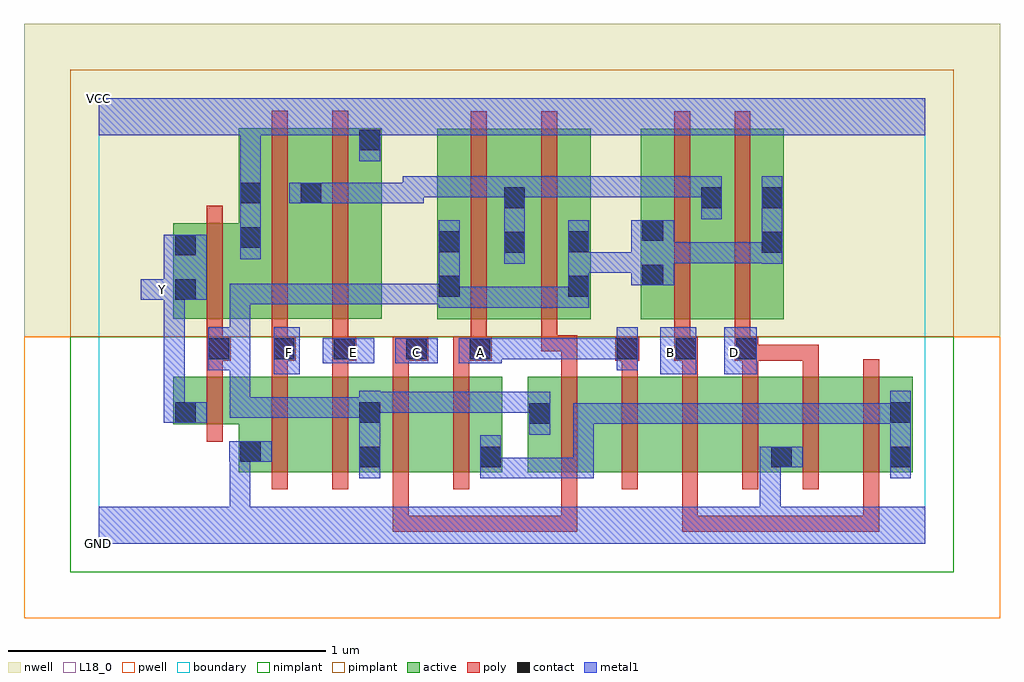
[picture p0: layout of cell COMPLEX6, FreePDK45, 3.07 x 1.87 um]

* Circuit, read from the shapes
.subckt COMPLEX6 A B C D E F GND VCC Y
M1 GND n1 Y VSUBS nfet w=0.15u l=0.05u
M2 n2 F GND VSUBS nfet w=0.3u l=0.05u
M3 n1 E n2 VSUBS nfet w=0.3u l=0.05u
M4 n3 C n1 VSUBS nfet w=0.3u l=0.05u
M5 n4 A n3 VSUBS nfet w=0.3u l=0.05u
M6 n5 C n1 VSUBS nfet w=0.3u l=0.05u
M7 n6 A n5 VSUBS nfet w=0.3u l=0.05u
M8 n7 B n6 VSUBS nfet w=0.3u l=0.05u
M9 GND D n7 VSUBS nfet w=0.3u l=0.05u
M10 n8 D GND VSUBS nfet w=0.3u l=0.05u
M11 n4 B n8 VSUBS nfet w=0.3u l=0.05u
M12 VCC n1 Y n9 pfet w=0.3u l=0.05u
M13 n10 F VCC n9 pfet w=0.6u l=0.05u
M14 VCC E n10 n9 pfet w=0.6u l=0.05u
M15 n10 A n1 n9 pfet w=0.6u l=0.05u
M16 n1 C n10 n9 pfet w=0.6u l=0.05u
M17 n10 B n1 n9 pfet w=0.6u l=0.05u
M18 n1 D n10 n9 pfet w=0.6u l=0.05u
.ends

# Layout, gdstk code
import gdstk
lib = gdstk.Library(unit=1e-6, precision=1e-09)
def R(c, l, rs):  # rectangles x0, y0, x1, y1
    for r in rs: c.add(gdstk.rectangle(r[:2], r[2:], *l))
def A(c, l, x, y, w, h, nx, ny, dx, dy):  # array of equal rectangles
    R(c, l, [(x+i*dx, y+j*dy, x+i*dx+w, y+j*dy+h) for i in range(nx) for j in range(ny)])
active = (1, 0)
pwell = (2, 0)
nwell = (3, 0)
nimplant = (4, 0)
pimplant = (5, 0)
poly = (9, 0)
contact = (10, 0)
metal1 = (11, 0)
L18_0 = (18, 0)
boundary = (235, 0)

complex6 = lib.new_cell('COMPLEX6')
R(complex6, active, [(0.44,0.225,0.665,0.525), (0.44,0.225,0.515,0.442), (0.665,0.225,0.89,0.525), (0.815,0.225,1.045,0.525), (1.045,0.225,1.27,0.525), (1.35,0.225,1.575,0.525), (1.575,0.225,1.765,0.525), (1.765,0.225,1.955,0.525), (1.955,0.225,2.185,0.525), (2.11,0.225,2.335,0.525), (2.11,0.225,2.185,0.517), (2.335,0.225,2.56,0.525), (2.485,0.225,2.56,0.525), (0.815,0.232,0.89,0.517), (1.195,0.232,1.27,0.517), (1.35,0.295,1.455,0.525), (0.235,0.375,0.515,0.525), (0.235,0.375,0.31,0.525), (1.065,0.705,1.14,1.07), (1.065,0.705,1.345,1.305), (1.27,0.705,1.547,1.305), (1.472,0.705,1.547,1.07), (1.705,0.705,1.965,1.305), (1.705,0.705,1.78,1.07), (1.89,0.705,2.155,1.305), (2.08,0.705,2.155,1.2), (0.235,0.707,0.31,1.007), (0.235,0.707,0.515,1.007), (0.44,0.707,0.705,1.307), (0.44,0.707,0.515,1.307), (0.63,0.707,0.705,1.2), (0.63,0.707,0.89,1.307), (0.815,0.707,0.89,1.307), (1.27,0.707,1.345,1.2), (1.89,0.707,1.965,1.2)])
R(complex6, pwell, [(-0.235,-0.235,2.835,0.65)])
R(complex6, nwell, [(-0.235,0.65,2.835,1.635)])
R(complex6, nimplant, [(-0.09,-0.09,2.69,0.65)])
R(complex6, pimplant, [(-0.09,0.65,2.69,1.49)])
A(complex6, poly, 0.545, 0.17, 0.05, 0.41, 4, 1, 0.19, 0)
A(complex6, poly, 1.455, 0.17, 0.05, 0.41, 6, 1, 0.19, 0)
A(complex6, poly, 0.545, 0.53, 0.05, 0.095, 4, 1, 0.19, 0)
A(complex6, poly, 1.645, 0.53, 0.05, 0.095, 4, 1, 0.19, 0)
R(complex6, poly, [(0.925,0.037,0.975,0.22), (0.925,0.037,0.975,0.087), (0.925,0.037,0.975,0.087), (0.925,0.037,0.975,0.087), (0.925,0.037,1.297,0.087), (1.247,0.037,1.297,0.087), (1.247,0.037,1.297,0.087), (1.247,0.037,1.297,0.087), (1.247,0.037,1.505,0.087), (1.455,0.037,1.505,0.22), (1.455,0.037,1.505,0.087), (1.455,0.037,1.505,0.087), (1.455,0.037,1.505,0.087), (1.835,0.037,1.885,0.22), (1.835,0.037,1.885,0.087), (1.835,0.037,1.885,0.087), (1.835,0.037,1.885,0.087), (1.835,0.037,2.017,0.087), (1.967,0.037,2.017,0.087), (1.967,0.037,2.017,0.087), (1.967,0.037,2.017,0.087), (1.967,0.037,2.207,0.087), (2.157,0.037,2.207,0.087), (2.157,0.037,2.455,0.087), (2.405,0.037,2.455,0.22), (2.405,0.037,2.455,0.087), (2.405,0.037,2.455,0.087), (2.405,0.037,2.455,0.087), (0.34,0.32,0.39,0.58), (0.34,0.53,0.39,0.625), (1.455,0.53,1.505,0.655), (0.34,0.575,0.415,0.65), (0.545,0.575,0.62,0.65), (0.735,0.575,0.81,0.65), (0.925,0.575,1.037,0.65), (1.115,0.575,1.237,0.65), (1.625,0.575,1.7,0.65), (1.81,0.575,1.885,0.65), (2,0.575,2.075,0.65), (2.025,0.575,2.075,0.625), (2.025,0.575,2.075,0.625), (2.025,0.575,2.265,0.625), (2.215,0.575,2.265,0.625), (0.34,0.6,0.39,0.702), (0.545,0.6,0.595,0.702), (0.735,0.6,0.785,0.702), (1.17,0.6,1.22,0.7), (1.81,0.6,1.86,0.7), (2,0.6,2.05,0.7), (1.392,0.605,1.442,0.7), (1.392,0.605,1.505,0.655), (1.17,0.65,1.22,1.36), (1.392,0.65,1.442,1.36), (1.81,0.65,1.86,1.36), (2,0.65,2.05,1.36), (0.34,0.652,0.39,1.062), (0.545,0.652,0.595,1.362), (0.735,0.652,0.785,1.362)])
R(complex6, contact, [(0.82,0.24,0.885,0.305), (1.2,0.24,1.265,0.305), (2.115,0.24,2.18,0.305), (2.49,0.24,2.555,0.305), (0.445,0.257,0.51,0.322), (1.355,0.377,1.42,0.442), (0.24,0.38,0.305,0.445), (0.82,0.38,0.885,0.445), (2.49,0.38,2.555,0.445), (0.345,0.58,0.41,0.645), (0.55,0.58,0.615,0.645), (0.74,0.58,0.805,0.645), (0.967,0.58,1.032,0.645), (1.167,0.58,1.232,0.645), (1.63,0.58,1.695,0.645), (1.815,0.58,1.88,0.645), (2.005,0.58,2.07,0.645), (0.24,0.767,0.305,0.832), (1.07,0.777,1.135,0.842), (1.477,0.777,1.542,0.842), (1.71,0.812,1.775,0.877), (0.24,0.907,0.305,0.972), (1.275,0.915,1.34,0.98), (2.085,0.915,2.15,0.98), (1.07,0.917,1.135,0.982), (1.477,0.917,1.542,0.982), (0.445,0.93,0.51,0.995), (1.71,0.952,1.775,1.017), (1.275,1.055,1.34,1.12), (1.895,1.055,1.96,1.12), (2.085,1.055,2.15,1.12), (0.445,1.07,0.51,1.135), (0.635,1.07,0.7,1.135), (0.82,1.237,0.885,1.302)])
R(complex6, metal1, [(0,0,2.6,0.115), (0.412,0.05,0.477,0.115), (0.412,0.05,0.477,0.115), (0.412,0.05,0.477,0.322), (2.08,0.05,2.145,0.115), (2.08,0.05,2.145,0.115), (2.08,0.05,2.145,0.305), (0.82,0.205,0.885,0.48), (1.2,0.205,1.265,0.34), (1.2,0.205,1.405,0.27), (1.34,0.205,1.405,0.27), (1.34,0.205,1.557,0.27), (1.492,0.205,1.557,0.27), (1.492,0.205,1.557,0.27), (1.492,0.205,1.557,0.27), (1.492,0.205,1.557,0.442), (2.49,0.205,2.555,0.48), (2.08,0.24,2.215,0.305), (0.41,0.257,0.545,0.322), (1.355,0.342,1.42,0.477), (1.492,0.377,1.557,0.442), (1.492,0.377,1.695,0.442), (1.63,0.377,1.695,0.442), (1.63,0.377,1.695,0.442), (1.63,0.377,1.695,0.442), (1.63,0.377,1.832,0.442), (1.767,0.377,1.832,0.442), (1.767,0.377,2.007,0.442), (1.942,0.377,2.007,0.442), (1.942,0.377,2.007,0.442), (1.942,0.377,2.007,0.442), (1.942,0.377,2.145,0.442), (2.08,0.377,2.145,0.442), (2.08,0.377,2.417,0.442), (2.352,0.377,2.417,0.442), (2.352,0.377,2.417,0.442), (2.352,0.377,2.417,0.442), (2.352,0.377,2.555,0.442), (2.49,0.377,2.555,0.442), (2.49,0.377,2.555,0.442), (0.205,0.38,0.34,0.445), (0.205,0.38,0.27,0.832), (0.412,0.395,0.477,0.46), (0.412,0.395,0.547,0.46), (0.412,0.395,0.477,0.61), (0.482,0.395,0.547,0.46), (0.482,0.395,0.685,0.46), (0.62,0.395,0.685,0.46), (0.62,0.395,0.685,0.46), (0.62,0.395,0.685,0.46), (0.62,0.395,0.885,0.46), (0.82,0.412,1.06,0.477), (0.995,0.412,1.06,0.477), (0.995,0.412,1.115,0.477), (1.05,0.412,1.115,0.477), (1.05,0.412,1.197,0.477), (1.132,0.412,1.197,0.477), (1.132,0.412,1.405,0.477), (1.34,0.412,1.405,0.477), (1.34,0.412,1.42,0.477), (0.55,0.532,0.632,0.68), (1.767,0.532,1.88,0.68), (1.967,0.532,2.07,0.68), (0.345,0.545,0.41,0.68), (0.345,0.545,0.477,0.61), (0.412,0.545,0.477,0.61), (0.412,0.545,0.477,0.817), (1.63,0.545,1.695,0.68), (0.705,0.567,0.867,0.645), (0.932,0.567,1.067,0.645), (1.132,0.567,1.267,0.645), (1.202,0.58,1.272,0.645), (1.207,0.58,1.272,0.645), (1.207,0.58,1.405,0.645), (1.34,0.58,1.405,0.645), (1.34,0.58,1.557,0.645), (1.492,0.58,1.557,0.645), (1.492,0.58,1.557,0.645), (1.492,0.58,1.557,0.645), (1.492,0.58,1.695,0.645), (1.07,0.742,1.135,1.017), (1.07,0.742,1.197,0.807), (1.132,0.742,1.197,0.807), (1.132,0.742,1.405,0.807), (1.34,0.742,1.405,0.807), (1.34,0.742,1.405,0.807), (1.34,0.742,1.405,0.807), (1.34,0.742,1.542,0.807), (1.477,0.742,1.542,0.807), (1.477,0.742,1.542,0.807), (1.477,0.742,1.542,1.017), (0.412,0.752,0.477,0.817), (0.412,0.752,0.547,0.817), (0.482,0.752,0.547,0.817), (0.482,0.752,0.747,0.817), (0.682,0.752,0.747,0.817), (0.682,0.752,0.747,0.817), (0.682,0.752,0.747,0.817), (0.682,0.752,0.885,0.817), (0.82,0.752,0.885,0.817), (0.82,0.752,0.885,0.817), (0.82,0.752,0.885,0.817), (0.82,0.752,1.135,0.817), (0.132,0.767,0.27,0.832), (0.205,0.767,0.27,0.832), (0.205,0.767,0.34,0.972), (1.675,0.812,1.81,1.017), (1.477,0.852,1.695,0.917), (1.63,0.852,1.695,0.917), (1.63,0.852,1.74,0.917), (1.275,0.88,1.34,1.155), (2.085,0.88,2.15,1.155), (1.745,0.882,1.832,0.947), (1.767,0.882,1.832,0.947), (1.767,0.882,1.947,0.947), (1.882,0.882,1.947,0.947), (1.882,0.882,2.15,0.947), (2.085,0.882,2.15,0.947), (2.085,0.882,2.15,0.947), (0.445,0.895,0.51,1.17), (1.895,1.02,1.96,1.155), (0.6,1.07,0.735,1.135), (0.67,1.07,0.735,1.135), (0.67,1.07,0.735,1.135), (0.67,1.07,0.885,1.135), (0.82,1.07,0.885,1.135), (0.82,1.07,1.022,1.135), (0.957,1.07,1.022,1.155), (0.957,1.09,1.022,1.155), (0.957,1.09,1.022,1.155), (0.957,1.09,1.267,1.155), (1.202,1.09,1.267,1.155), (1.202,1.09,1.34,1.155), (1.275,1.09,1.405,1.155), (1.34,1.09,1.405,1.155), (1.34,1.09,1.542,1.155), (1.477,1.09,1.542,1.155), (1.477,1.09,1.542,1.155), (1.477,1.09,1.542,1.155), (1.477,1.09,1.695,1.155), (1.63,1.09,1.695,1.155), (1.63,1.09,1.695,1.155), (1.63,1.09,1.695,1.155), (1.63,1.09,1.832,1.155), (1.767,1.09,1.832,1.155), (1.767,1.09,1.96,1.155), (0.445,1.105,0.51,1.35), (0.82,1.202,0.885,1.337), (0.82,1.272,0.885,1.35), (0,1.285,2.6,1.4)])
A(complex6, L18_0, 0.567, 0.567, 0.065, 0.065, 4, 1, 0.2, 0)
R(complex6, L18_0, [(0,0,2.6,0.115), (0.412,0.05,0.477,0.115), (0.412,0.05,0.477,0.115), (0.412,0.05,0.477,0.322), (2.08,0.05,2.145,0.115), (2.08,0.05,2.145,0.115), (2.08,0.05,2.145,0.305), (2.08,0.24,2.215,0.305), (0.41,0.257,0.545,0.322), (0.205,0.38,0.34,0.445), (0.205,0.38,0.27,0.832), (0.55,0.532,0.632,0.68), (1.767,0.532,1.88,0.68), (1.967,0.532,2.07,0.68), (1.63,0.545,1.695,0.68), (0.705,0.567,0.867,0.645), (0.932,0.567,1.067,0.645), (1.132,0.567,1.267,0.645), (1.767,0.567,1.832,0.632), (1.967,0.567,2.032,0.632), (1.202,0.58,1.272,0.645), (1.207,0.58,1.272,0.645), (1.207,0.58,1.405,0.645), (1.34,0.58,1.405,0.645), (1.34,0.58,1.557,0.645), (1.492,0.58,1.557,0.645), (1.492,0.58,1.557,0.645), (1.492,0.58,1.557,0.645), (1.492,0.58,1.695,0.645), (0.132,0.767,0.27,0.832), (0.167,0.767,0.232,0.832), (0.205,0.767,0.34,0.972), (0.205,0.767,0.27,0.832), (0.445,0.895,0.51,1.17), (0.445,1.105,0.51,1.35), (0.82,1.202,0.885,1.337), (0.82,1.272,0.885,1.35), (0,1.285,2.6,1.4)])
R(complex6, boundary, [(0,0,2.6,1.4)])
complex6.add(gdstk.Label('A', (1.2,0.6), layer=11, texttype=0))
complex6.add(gdstk.Label('B', (1.8,0.6), layer=11, texttype=0))
complex6.add(gdstk.Label('C', (1,0.6), layer=11, texttype=0))
complex6.add(gdstk.Label('D', (2,0.6), layer=11, texttype=0))
complex6.add(gdstk.Label('E', (0.8,0.6), layer=11, texttype=0))
complex6.add(gdstk.Label('F', (0.6,0.6), layer=11, texttype=0))
complex6.add(gdstk.Label('Y', (0.2,0.8), layer=11, texttype=0))
complex6.add(gdstk.Label('VCC', (0,1.4), layer=11, texttype=0))
complex6.add(gdstk.Label('GND', (0,0), layer=11, texttype=0))

lib.write_gds('COMPLEX6.gds')
